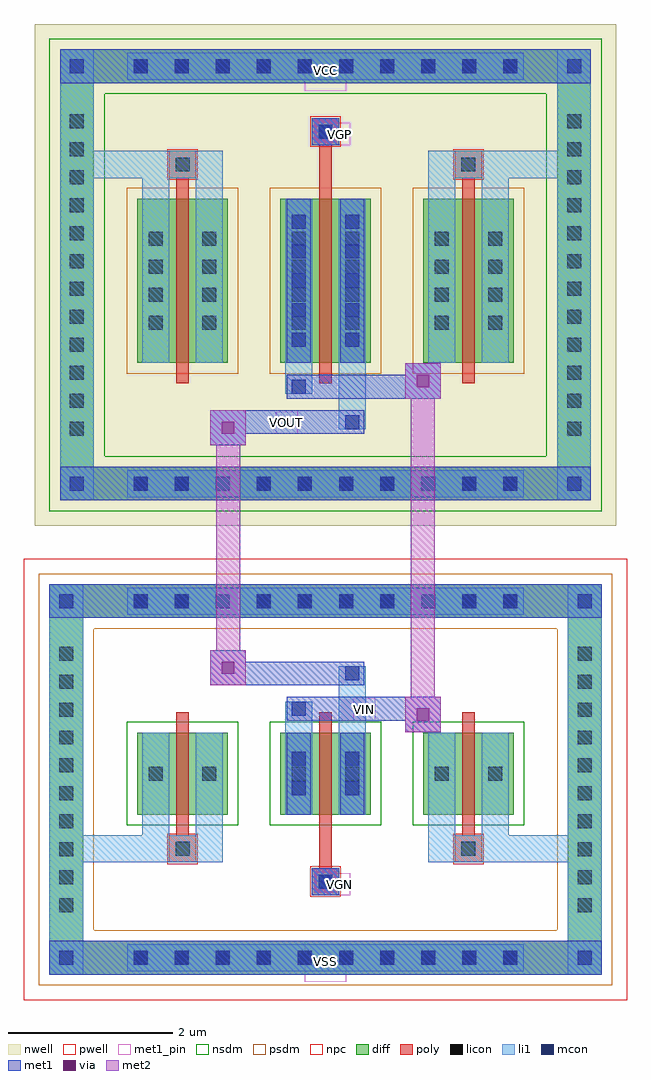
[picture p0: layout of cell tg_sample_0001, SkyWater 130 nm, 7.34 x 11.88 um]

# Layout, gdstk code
import gdstk
lib = gdstk.Library(unit=1e-6, precision=5e-09)
def R(c, l, rs):  # rectangles x0, y0, x1, y1
    for r in rs: c.add(gdstk.rectangle(r[:2], r[2:], *l))
def A(c, l, x, y, w, h, nx, ny, dx, dy):  # array of equal rectangles
    R(c, l, [(x+i*dx, y+j*dy, x+i*dx+w, y+j*dy+h) for i in range(nx) for j in range(ny)])
def P(c, l, *ps):  # polygons
    for p in ps: c.add(gdstk.Polygon(p, *l))
nwell = (64, 20)
pwell = (64, 44)
diff = (65, 20)
poly = (66, 20)
licon = (66, 44)
li1 = (67, 20)
mcon = (67, 44)
met1_pin = (68, 16)
met1 = (68, 20)
via = (68, 44)
met2 = (69, 20)
nsdm = (93, 44)
psdm = (94, 20)
npc = (95, 20)

tg_sample_0001 = lib.new_cell('tg_sample_0001')
R(tg_sample_0001, nwell, [(-3.54,3.085,3.54,9.195)])
R(tg_sample_0001, pwell, [(-3.67,-2.685,3.67,2.685)])
A(tg_sample_0001, diff, -2.455, -2.375, 0.41, 0.41, 10, 2, 0.5, 4.34)
A(tg_sample_0001, diff, -3.36, -1.735, 0.41, 0.41, 1, 10, 0, 0.34)
A(tg_sample_0001, diff, 2.95, -1.735, 0.41, 0.41, 1, 10, 0, 0.34)
A(tg_sample_0001, diff, -2.29, -0.43, 1.1, 1, 3, 1, 1.74, 0)
A(tg_sample_0001, diff, -2.455, 3.395, 0.41, 0.41, 10, 2, 0.5, 5.08)
A(tg_sample_0001, diff, -3.23, 4.065, 0.41, 0.41, 1, 12, 0, 0.34)
A(tg_sample_0001, diff, 2.82, 4.065, 0.41, 0.41, 1, 12, 0, 0.34)
A(tg_sample_0001, diff, -2.29, 5.07, 1.1, 2, 3, 1, 1.74, 0)
R(tg_sample_0001, diff, [(-2.455,-2.375,2.455,-1.965), (-3.36,-1.735,-2.95,1.735), (2.95,-1.735,3.36,1.735), (-2.455,1.965,2.455,2.375), (-2.455,3.395,2.455,3.805), (-3.23,4.065,-2.82,8.215), (2.82,4.065,3.23,8.215), (-2.455,8.475,2.455,8.885)])
P(tg_sample_0001, diff, [(3.36,2.375),(-3.36,2.375),(-3.36,-1.965),(-2.95,-1.965),(-2.95,1.965),(2.95,1.965),(2.95,-1.965),(-2.95,-1.965),(-3.36,-1.965),(-3.36,-2.375),(3.36,-2.375)],
  [(3.23,3.395),(-3.23,3.395),(-3.23,8.475),(-2.82,8.475),(-2.82,3.805),(2.82,3.805),(2.82,8.475),(-2.82,8.475),(-3.23,8.475),(-3.23,8.885),(3.23,8.885)])
A(tg_sample_0001, poly, -1.815, -0.68, 0.15, 1.5, 3, 1, 1.74, 0)
A(tg_sample_0001, poly, -1.815, 4.82, 0.15, 2.5, 3, 1, 1.74, 0)
R(tg_sample_0001, poly, [(-0.165,-1.41,0.165,-1.08), (-0.165,-1.41,0.165,-1.08), (-0.075,-1.08,0.075,-0.68), (-1.905,-1.01,-1.575,-0.68), (-1.905,-1.01,-1.575,-0.68), (1.575,-1.01,1.905,-0.68), (1.575,-1.01,1.905,-0.68), (-1.905,7.32,-1.575,7.65), (-1.905,7.32,-1.575,7.65), (-0.075,7.32,0.075,7.72), (1.575,7.32,1.905,7.65), (1.575,7.32,1.905,7.65), (-0.165,7.72,0.165,8.05), (-0.165,7.72,0.165,8.05)])
A(tg_sample_0001, licon, -2.335, -2.255, 0.17, 0.17, 10, 2, 0.5, 4.34)
A(tg_sample_0001, licon, -3.24, -1.615, 0.17, 0.17, 1, 10, 0, 0.34)
A(tg_sample_0001, licon, 3.07, -1.615, 0.17, 0.17, 1, 10, 0, 0.34)
A(tg_sample_0001, licon, -2.335, 3.515, 0.17, 0.17, 10, 2, 0.5, 5.08)
A(tg_sample_0001, licon, -3.11, 4.185, 0.17, 0.17, 1, 12, 0, 0.34)
A(tg_sample_0001, licon, 2.94, 4.185, 0.17, 0.17, 1, 12, 0, 0.34)
A(tg_sample_0001, licon, -2.15, 5.475, 0.17, 0.17, 1, 4, 0, 0.34)
A(tg_sample_0001, licon, -1.5, 5.475, 0.17, 0.17, 1, 4, 0, 0.34)
A(tg_sample_0001, licon, -0.41, 5.475, 0.17, 0.17, 1, 4, 0, 0.34)
A(tg_sample_0001, licon, 0.24, 5.475, 0.17, 0.17, 1, 4, 0, 0.34)
A(tg_sample_0001, licon, 1.33, 5.475, 0.17, 0.17, 1, 4, 0, 0.34)
A(tg_sample_0001, licon, 1.98, 5.475, 0.17, 0.17, 1, 4, 0, 0.34)
R(tg_sample_0001, licon, [(-0.085,-1.33,0.085,-1.16), (-1.825,-0.93,-1.655,-0.76), (1.655,-0.93,1.825,-0.76), (-2.15,-0.015,-1.98,0.155), (-1.5,-0.015,-1.33,0.155), (-0.41,-0.015,-0.24,0.155), (0.24,-0.015,0.41,0.155), (1.33,-0.015,1.5,0.155), (1.98,-0.015,2.15,0.155), (-1.825,7.4,-1.655,7.57), (1.655,7.4,1.825,7.57), (-0.085,7.8,0.085,7.97)])
A(tg_sample_0001, li1, -2.415, -2.335, 0.33, 0.33, 10, 2, 0.5, 4.34)
A(tg_sample_0001, li1, -3.32, -1.695, 0.33, 0.33, 1, 10, 0, 0.34)
A(tg_sample_0001, li1, 2.99, -1.695, 0.33, 0.33, 1, 10, 0, 0.34)
A(tg_sample_0001, li1, -2.415, 3.435, 0.33, 0.33, 10, 2, 0.5, 5.08)
A(tg_sample_0001, li1, -3.19, 4.105, 0.33, 0.33, 1, 12, 0, 0.34)
A(tg_sample_0001, li1, 2.86, 4.105, 0.33, 0.33, 1, 12, 0, 0.34)
A(tg_sample_0001, li1, -0.41, 5.265, 0.17, 0.17, 1, 5, 0, 0.36)
A(tg_sample_0001, li1, 0.24, 5.265, 0.17, 0.17, 1, 5, 0, 0.36)
A(tg_sample_0001, li1, -2.23, 5.395, 0.33, 0.33, 1, 4, 0, 0.34)
A(tg_sample_0001, li1, -1.58, 5.395, 0.33, 0.33, 1, 4, 0, 0.34)
A(tg_sample_0001, li1, -0.49, 5.395, 0.33, 0.33, 1, 4, 0, 0.34)
A(tg_sample_0001, li1, 0.16, 5.395, 0.33, 0.33, 1, 4, 0, 0.34)
A(tg_sample_0001, li1, 1.25, 5.395, 0.33, 0.33, 1, 4, 0, 0.34)
A(tg_sample_0001, li1, 1.9, 5.395, 0.33, 0.33, 1, 4, 0, 0.34)
R(tg_sample_0001, li1, [(-3.36,-2.375,-2.95,-1.965), (2.95,-2.375,3.36,-1.965), (-2.415,-2.335,2.415,-2.005), (-3.24,-2.255,-3.07,-2.085), (-3.24,-2.255,-3.07,-2.085), (3.07,-2.255,3.24,-2.085), (3.07,-2.255,3.24,-2.085), (-3.36,-1.965,-2.95,1.965), (2.95,-1.965,3.36,1.965), (-0.165,-1.41,0.165,-1.08), (-3.36,-1.01,-1.905,-0.68), (-2.23,-1.01,-1.905,-0.68), (-2.23,-1.01,-1.9,-0.43), (-1.905,-1.01,-1.575,-0.68), (-1.58,-1.01,-1.25,-0.43), (-1.575,-1.01,-1.25,-0.68), (1.25,-1.01,1.575,-0.68), (1.25,-1.01,1.58,-0.43), (1.575,-1.01,1.905,-0.68), (1.575,-1.01,3.36,-0.68), (1.9,-1.01,2.23,-0.43), (1.905,-1.01,2.23,-0.68), (-2.23,-0.43,-1.9,0.57), (-1.58,-0.43,-1.25,0.57), (-0.49,-0.43,-0.16,0.57), (0.16,-0.43,0.49,0.57), (1.25,-0.43,1.58,0.57), (1.9,-0.43,2.23,0.57), (-0.41,-0.195,-0.24,-0.025), (-0.41,-0.195,-0.24,0.335), (0.24,-0.195,0.41,-0.025), (0.24,-0.195,0.41,0.335), (-2.23,-0.095,-1.9,0.235), (-1.58,-0.095,-1.25,0.235), (-0.49,-0.095,-0.16,0.235), (0.16,-0.095,0.49,0.235), (1.25,-0.095,1.58,0.235), (1.9,-0.095,2.23,0.235), (-0.41,0.165,-0.24,0.335), (0.24,0.165,0.41,0.335), (-0.49,0.57,-0.16,0.945), (0.16,0.57,0.49,1.375), (-0.41,0.775,-0.24,0.945), (0.24,1.205,0.41,1.375), (-3.36,1.965,-2.95,2.375), (2.95,1.965,3.36,2.375), (-2.415,2.005,2.415,2.335), (-3.24,2.085,-3.07,2.255), (-3.24,2.085,-3.07,2.255), (3.07,2.085,3.24,2.255), (3.07,2.085,3.24,2.255), (-3.23,3.395,-2.82,3.805), (2.82,3.395,3.23,3.805), (-2.415,3.435,2.415,3.765), (-3.11,3.515,-2.94,3.685), (-3.11,3.515,-2.94,3.685), (2.94,3.515,3.11,3.685), (2.94,3.515,3.11,3.685), (-3.23,3.805,-2.82,8.475), (2.82,3.805,3.23,8.475), (0.16,4.265,0.49,5.07), (0.24,4.265,0.41,4.435), (-0.49,4.695,-0.16,5.07), (-0.41,4.695,-0.24,4.865), (-2.23,5.07,-1.9,7.07), (-1.58,5.07,-1.25,7.07), (-0.49,5.07,-0.16,7.07), (0.16,5.07,0.49,7.07), (1.25,5.07,1.58,7.07), (1.9,5.07,2.23,7.07), (-0.41,5.265,-0.24,6.875), (0.24,5.265,0.41,6.875), (-2.23,7.07,-1.9,7.65), (-1.58,7.07,-1.25,7.65), (1.25,7.07,1.58,7.65), (1.9,7.07,2.23,7.65), (-3.23,7.32,-1.905,7.65), (-2.23,7.32,-1.905,7.65), (-1.905,7.32,-1.575,7.65), (-1.575,7.32,-1.25,7.65), (1.25,7.32,1.575,7.65), (1.575,7.32,1.905,7.65), (1.575,7.32,3.23,7.65), (1.905,7.32,2.23,7.65), (-0.165,7.72,0.165,8.05), (-3.23,8.475,-2.82,8.885), (2.82,8.475,3.23,8.885), (-2.415,8.515,2.415,8.845), (-3.11,8.595,-2.94,8.765), (-3.11,8.595,-2.94,8.765), (2.94,8.595,3.11,8.765), (2.94,8.595,3.11,8.765)])
A(tg_sample_0001, mcon, -2.335, -2.255, 0.17, 0.17, 10, 2, 0.5, 4.34)
A(tg_sample_0001, mcon, -2.335, 3.515, 0.17, 0.17, 10, 2, 0.5, 5.08)
A(tg_sample_0001, mcon, -0.41, 5.265, 0.17, 0.17, 1, 5, 0, 0.36)
A(tg_sample_0001, mcon, 0.24, 5.265, 0.17, 0.17, 1, 5, 0, 0.36)
R(tg_sample_0001, mcon, [(-3.24,-2.255,-3.07,-2.085), (3.07,-2.255,3.24,-2.085), (-0.085,-1.33,0.085,-1.16), (-0.41,-0.195,-0.24,-0.025), (0.24,-0.195,0.41,-0.025), (-0.41,0.165,-0.24,0.335), (0.24,0.165,0.41,0.335), (-0.41,0.775,-0.24,0.945), (0.24,1.205,0.41,1.375), (-3.24,2.085,-3.07,2.255), (3.07,2.085,3.24,2.255), (-3.11,3.515,-2.94,3.685), (2.94,3.515,3.11,3.685), (0.24,4.265,0.41,4.435), (-0.41,4.695,-0.24,4.865), (-0.085,7.8,0.085,7.97), (-3.11,8.595,-2.94,8.765), (2.94,8.595,3.11,8.765)])
R(tg_sample_0001, met1_pin, [(-0.25,-2.465,0.25,-1.965), (0.03,-1.41,0.3,-1.14), (0.335,0.715,0.605,0.985), (-0.605,4.205,-0.335,4.475), (0.03,7.72,0.3,7.99), (-0.25,8.385,0.25,8.885)])
A(tg_sample_0001, met1, -2.395, -2.315, 0.29, 0.29, 10, 2, 0.5, 4.34)
A(tg_sample_0001, met1, -2.395, 3.455, 0.29, 0.29, 10, 2, 0.5, 5.08)
A(tg_sample_0001, met1, -0.47, 5.205, 0.29, 0.29, 1, 5, 0, 0.36)
A(tg_sample_0001, met1, 0.18, 5.205, 0.29, 0.29, 1, 5, 0, 0.36)
R(tg_sample_0001, met1, [(-3.36,-2.375,-2.95,-1.965), (-3.36,-2.375,-2.95,-1.965), (-2.95,-2.375,2.95,-1.965), (2.95,-2.375,3.36,-1.965), (2.95,-2.375,3.36,-1.965), (-3.3,-2.315,-3.01,-2.025), (3.01,-2.315,3.3,-2.025), (-0.165,-1.41,0.165,-1.08), (-0.145,-1.39,0.145,-1.1), (-0.47,-0.43,-0.18,0.57), (0.18,-0.43,0.47,0.57), (-0.47,-0.255,-0.18,0.035), (0.18,-0.255,0.47,0.035), (-0.47,0.105,-0.18,0.395), (0.18,0.105,0.47,0.395), (0.97,0.575,1.4,1.005), (-0.47,0.715,-0.18,1.005), (-0.47,0.715,0.47,1.005), (0.47,0.715,1.4,1.005), (-1.4,1.145,-0.47,1.435), (-1.4,1.145,-0.97,1.575), (-0.47,1.145,0.47,1.435), (0.18,1.145,0.47,1.435), (-3.36,1.965,-2.95,2.375), (-3.36,1.965,-2.95,2.375), (-2.95,1.965,2.95,2.375), (2.95,1.965,3.36,2.375), (2.95,1.965,3.36,2.375), (-3.3,2.025,-3.01,2.315), (3.01,2.025,3.3,2.315), (-3.23,3.395,-2.82,3.805), (-3.23,3.395,-2.82,3.805), (-2.82,3.395,2.82,3.805), (2.82,3.395,3.23,3.805), (2.82,3.395,3.23,3.805), (-3.17,3.455,-2.88,3.745), (2.88,3.455,3.17,3.745), (-1.4,4.065,-0.97,4.495), (-1.4,4.205,-0.47,4.495), (-0.47,4.205,0.47,4.495), (0.18,4.205,0.47,4.495), (-0.47,4.635,-0.18,4.925), (-0.47,4.635,0.47,4.925), (0.47,4.635,1.4,4.925), (0.97,4.635,1.4,5.065), (-0.47,5.07,-0.18,7.07), (0.18,5.07,0.47,7.07), (-0.165,7.72,0.165,8.05), (-0.145,7.74,0.145,8.03), (-3.23,8.475,-2.82,8.885), (-3.23,8.475,-2.82,8.885), (-2.82,8.475,2.82,8.885), (2.82,8.475,3.23,8.885), (2.82,8.475,3.23,8.885), (-3.17,8.535,-2.88,8.825), (2.88,8.535,3.17,8.825)])
R(tg_sample_0001, via, [(1.11,0.715,1.26,0.865), (-1.26,1.285,-1.11,1.435), (-1.26,4.205,-1.11,4.355), (1.11,4.775,1.26,4.925)])
R(tg_sample_0001, met2, [(0.97,0.575,1.4,1.005), (1.04,0.575,1.33,5.065), (1.33,0.575,1.4,1.005), (1.02,0.625,1.35,0.955), (-1.4,1.145,-0.97,1.575), (-1.33,1.145,-1.04,4.495), (-1.04,1.145,-0.97,1.575), (-1.35,1.195,-1.02,1.525), (-1.4,4.065,-0.97,4.495), (-1.04,4.065,-0.97,4.495), (-1.35,4.115,-1.02,4.445), (0.97,4.635,1.4,5.065), (1.33,4.635,1.4,5.065), (1.02,4.685,1.35,5.015)])
A(tg_sample_0001, nsdm, -2.42, -0.56, 1.36, 1.26, 3, 1, 1.74, 0)
P(tg_sample_0001, nsdm, [(3.36,3.265),(-3.36,3.265),(-3.36,8.345),(-2.69,8.345),(-2.69,3.935),(2.69,3.935),(2.69,8.345),(-2.69,8.345),(-3.36,8.345),(-3.36,9.015),(3.36,9.015)])
A(tg_sample_0001, psdm, -2.42, 4.94, 1.36, 2.26, 3, 1, 1.74, 0)
P(tg_sample_0001, psdm, [(3.49,2.505),(-3.49,2.505),(-3.49,-1.835),(-2.82,-1.835),(-2.82,1.835),(2.82,1.835),(2.82,-1.835),(-2.82,-1.835),(-3.49,-1.835),(-3.49,-2.505),(3.49,-2.505)])
R(tg_sample_0001, npc, [(-0.185,-1.43,0.185,-1.06), (-1.925,-1.03,-1.555,-0.66), (1.555,-1.03,1.925,-0.66), (-1.925,7.3,-1.555,7.67), (1.555,7.3,1.925,7.67), (-0.185,7.7,0.185,8.07)])
tg_sample_0001.add(gdstk.Label('VIN', (0.47,0.85), layer=68, texttype=5))
tg_sample_0001.add(gdstk.Label('VGN', (0.165,-1.275), layer=68, texttype=5))
tg_sample_0001.add(gdstk.Label('VGP', (0.165,7.855), layer=68, texttype=5))
tg_sample_0001.add(gdstk.Label('VSS', (0,-2.215), layer=68, texttype=5))
tg_sample_0001.add(gdstk.Label('VCC', (0,8.635), layer=68, texttype=5))
tg_sample_0001.add(gdstk.Label('VOUT', (-0.47,4.34), layer=68, texttype=5))

lib.write_gds('tg_sample_0001.gds')
